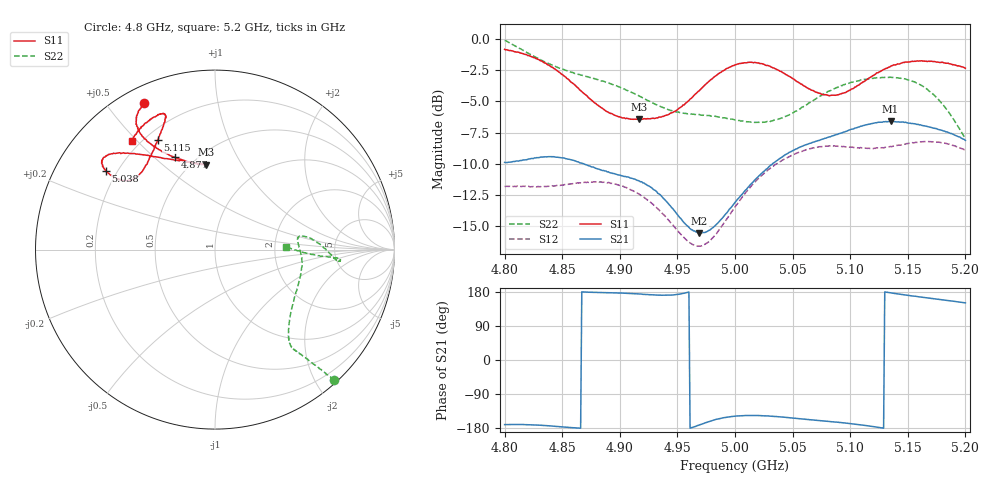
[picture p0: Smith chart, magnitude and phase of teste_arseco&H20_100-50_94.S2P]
! Network Analyzer HP8722D
! Hewlett-Packard
! Data name: Linha & Wilkinson
! Saver's name: Rodrigo Anjos
! Comments: Teste da utilização de aquisição
! continua pelo VNA HP8722D
! Time and date: 6/5/2025 13:21
!  Frequency  S11  S21  S12  S22
# HZ  S  MA R 50
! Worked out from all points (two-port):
!   401 points, 4.8 GHz to 5.2 GHz, reference 50 ohm
!   highest |S21| = -6.60 dB at 5.135 GHz (marker M1); lowest = -15.5 dB at 4.969 GHz (marker M2)
!   |S21| within 3 dB of the highest: 4.822 GHz to 4.854 GHz (31.23 MHz wide, 0.646 % of centre); 5.039 GHz to end of sweep
!   lowest |S11| = -6.5 dB at 4.917 GHz (marker M3), VSWR 2.81, Z = 29.2 + j35.6 ohm
!   |S11| at or under -10 dB: nowhere
!   |S22| runs from -8.0 to -0.1 dB; largest |S21 - S12| = 0.83
!   S11 on the Smith chart (normalised r, x): 4.8 GHz: 0.07, +0.62; 4.877 GHz: 0.39, +0.58; 5.038 GHz: 0.16, +0.31; 5.115 GHz: 0.25, +0.58; 5.2 GHz: 0.17, +0.48
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4.8e9  0.9065 115.9  0.3203 -170.5  0.2569 -86.1  0.9842 -47.5
4.831e9  0.8167 122.2  0.3361 -172.1  0.2563 -77.9  0.8254 -49.5
4.846e9  0.7429 122.5  0.3359 -175.5  0.2593 -72.9  0.7679 -50.4
4.867e9  0.6142 118.0  0.3179 179.8  0.2652 -67.4  0.7151 -51.6
4.877e9  0.5604 113.4  0.3068 178.6  0.2679 -66.4  0.6943 -51.8
4.901e9  0.4855 100.9  0.2838 176.7  0.258 -66.9  0.637 -49.9
4.917e9  0.4754 96.1  0.2697 174.1  0.2388 -68.5  0.5894 -45.8
4.934e9  0.4864 99.2  0.2394 171.1  0.2071 -69.4  0.5385 -37.5
4.95e9  0.5196 109.3  0.1981 173.0  0.1711 -65.6  0.509 -27.0
4.969e9  0.6199 123.4  0.167 -171.6  0.1482 -47.9  0.4977 -15.1
4.981e9  0.6972 129.9  0.1758 -159.3  0.1605 -34.1  0.489 -8.8
5e9  0.786 137.2  0.2215 -148.4  0.2126 -21.5  0.4734 -0.3
5.019e9  0.8006 141.8  0.2778 -146.7  0.2723 -18.4  0.463 5.8
5.038e9  0.7473 144.3  0.3298 -149.7  0.3208 -18.5  0.4778 9.0
5.067e9  0.622 141.8  0.3847 -158.0  0.3655 -20.6  0.5628 4.7
5.088e9  0.5952 133.0  0.414 -163.8  0.3718 -23.8  0.6373 -1.7
5.115e9  0.6883 117.7  0.4536 -173.6  0.3644 -26.7  0.69 -5.5
5.134e9  0.7704 111.1  0.466 177.8  0.3699 -28.7  0.7007 -4.8
5.135e9  0.7752 111.2  0.4677 177.4  0.3708 -28.8  0.7017 -4.7
5.162e9  0.8163 112.9  0.4505 165.9  0.3873 -35.4  0.6512 -3.8
5.18e9  0.8052 118.8  0.4296 159.0  0.3839 -41.0  0.5484 -2.8
5.2e9  0.762 127.3  0.392 150.7  0.3592 -46.4  0.3975 2.4
